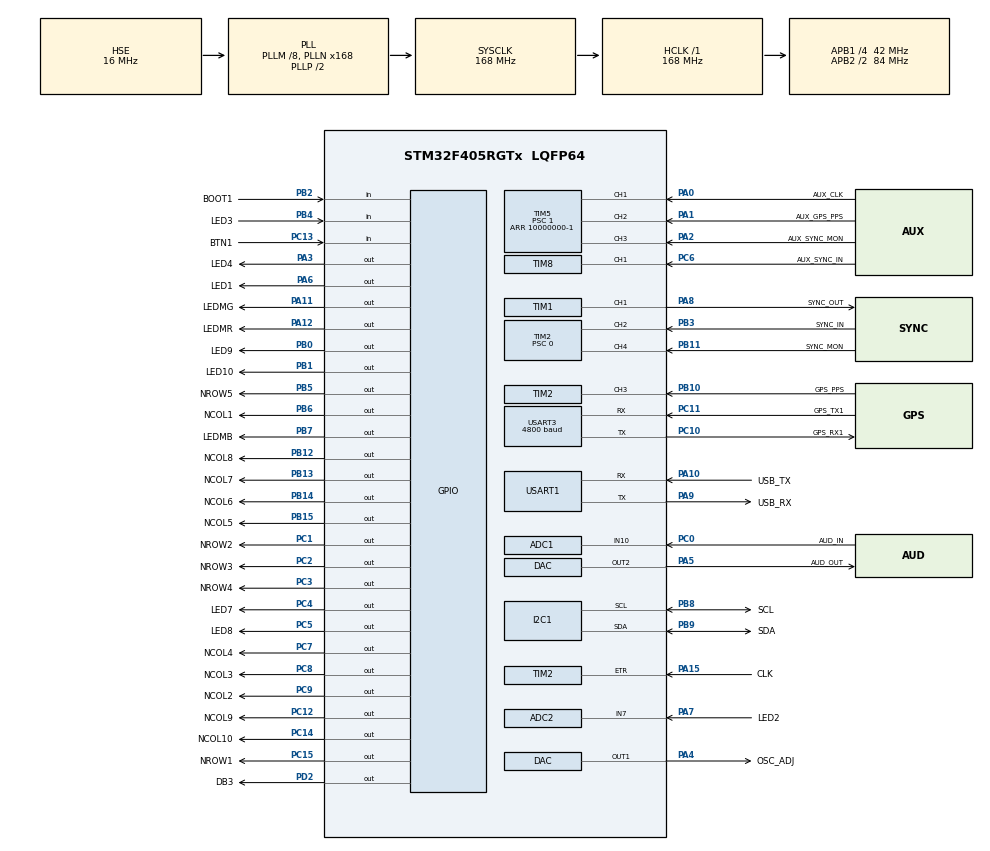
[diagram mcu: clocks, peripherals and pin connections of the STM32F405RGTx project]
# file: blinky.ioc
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ADC1.Channel-2\#ChannelRegularConversion=ADC_CHANNEL_10
ADC1.DMAContinuousRequests=DISABLE
ADC1.ExternalTrigConv=ADC_SOFTWARE_START
ADC1.NbrOfConversion=1
ADC1.NbrOfConversionFlag=1
ADC1.Rank-2\#ChannelRegularConversion=1
ADC1.SamplingTime-2\#ChannelRegularConversion=ADC_SAMPLETIME_3CYCLES
ADC1.master=1
ADC2.Channel-0\#ChannelRegularConversion=ADC_CHANNEL_7
ADC2.NbrOfConversionFlag=1
ADC2.Rank-0\#ChannelRegularConversion=1
ADC2.SamplingTime-0\#ChannelRegularConversion=ADC_SAMPLETIME_3CYCLES
DAC.DAC_Trigger2=DAC_TRIGGER_T6_TRGO
DAC.WaveGeneration2=DISABLE
Dma.ADC1.1.Direction=DMA_PERIPH_TO_MEMORY
Dma.ADC1.1.FIFOMode=DMA_FIFOMODE_DISABLE
Dma.ADC1.1.Instance=DMA2_Stream0
Dma.ADC1.1.MemDataAlignment=DMA_MDATAALIGN_WORD
Dma.ADC1.1.MemInc=DMA_MINC_ENABLE
Dma.ADC1.1.Mode=DMA_CIRCULAR
Dma.ADC1.1.PeriphDataAlignment=DMA_PDATAALIGN_WORD
Dma.ADC1.1.PeriphInc=DMA_PINC_DISABLE
Dma.ADC1.1.Priority=DMA_PRIORITY_LOW
Dma.DAC2.0.Direction=DMA_MEMORY_TO_PERIPH
Dma.DAC2.0.FIFOMode=DMA_FIFOMODE_DISABLE
Dma.DAC2.0.Instance=DMA1_Stream6
Dma.DAC2.0.MemDataAlignment=DMA_MDATAALIGN_WORD
Dma.DAC2.0.MemInc=DMA_MINC_ENABLE
Dma.DAC2.0.Mode=DMA_CIRCULAR
Dma.DAC2.0.PeriphDataAlignment=DMA_PDATAALIGN_WORD
Dma.DAC2.0.PeriphInc=DMA_PINC_DISABLE
Dma.DAC2.0.Priority=DMA_PRIORITY_LOW
Dma.Request0=DAC2
Dma.Request1=ADC1
Mcu.Family=STM32F4
Mcu.Name=STM32F405RGTx
Mcu.Package=LQFP64
NVIC.ADC_IRQn=true\:0\:0\:false\:false\:true\:true\:true\:true
NVIC.DMA1_Stream6_IRQn=true\:0\:0\:false\:false\:true\:false\:true\:true
NVIC.DMA2_Stream0_IRQn=true\:0\:0\:false\:false\:true\:false\:true\:true
NVIC.PriorityGroup=NVIC_PRIORITYGROUP_4
NVIC.TIM1_CC_IRQn=true\:0\:0\:false\:false\:true\:true\:true\:true
NVIC.TIM2_IRQn=true\:2\:0\:true\:false\:true\:true\:true\:true
NVIC.TIM3_IRQn=true\:0\:0\:false\:false\:true\:true\:true\:true
NVIC.TIM4_IRQn=true\:0\:0\:false\:false\:true\:true\:true\:true
NVIC.TIM5_IRQn=true\:0\:0\:false\:false\:true\:true\:true\:true
NVIC.TIM6_DAC_IRQn=true\:0\:0\:false\:false\:true\:true\:true\:true
NVIC.TIM8_CC_IRQn=true\:3\:0\:true\:false\:true\:true\:true\:true
NVIC.TIM8_TRG_COM_TIM14_IRQn=true\:15\:0\:false\:false\:true\:false\:true\:true
NVIC.USART3_IRQn=true\:0\:0\:false\:false\:true\:true\:true\:true
PA0-WKUP.GPIO_Label=AUX_CLK
PA0-WKUP.Signal=S_TIM5_CH1
PA1.GPIO_Label=AUX_GPS_PPS
PA1.Signal=S_TIM5_CH2
PA10.GPIO_Label=USB_TX
PA10.GPIO_Speed=GPIO_SPEED_FREQ_HIGH
PA10.Mode=Asynchronous
PA10.Signal=USART1_RX
PA11.GPIO_Label=LEDMG
PA11.PinState=GPIO_PIN_SET
PA11.Signal=GPIO_Output
PA12.GPIO_Label=LEDMR
PA12.PinState=GPIO_PIN_RESET
PA12.Signal=GPIO_Output
PA13.GPIO_Label=SWDIO
PA13.Mode=Serial_Wire
PA13.Signal=SYS_JTMS-SWDIO
PA14.GPIO_Label=SWDCLK
PA14.Mode=Serial_Wire
PA14.Signal=SYS_JTCK-SWCLK
PA15.GPIO_Label=CLK
PA15.Signal=S_TIM2_CH1_ETR
PA2.GPIO_Label=AUX_SYNC_MON
PA2.Signal=S_TIM5_CH3
PA3.GPIO_Label=LED4
PA3.GPIO_PuPd=GPIO_NOPULL
PA3.PinState=GPIO_PIN_RESET
PA3.Signal=GPIO_Output
PA4.GPIO_Label=OSC_ADJ
PA4.Signal=COMP_DAC1_group
PA5.GPIO_Label=AUD_OUT
PA5.Signal=COMP_DAC2_group
PA6.GPIO_Label=LED1
PA6.Signal=GPIO_Output
PA7.GPIO_Label=LED2
PA7.Signal=ADCx_IN7
PA8.GPIO_Label=SYNC_OUT
PA8.Signal=S_TIM1_CH1
PA9.GPIO_Label=USB_RX
PA9.GPIO_Speed=GPIO_SPEED_FREQ_HIGH
PA9.Mode=Asynchronous
PA9.Signal=USART1_TX
PB0.GPIO_Label=LED9
PB0.PinState=GPIO_PIN_SET
PB0.Signal=GPIO_Output
PB1.GPIO_Label=LED10
PB1.PinState=GPIO_PIN_SET
PB1.Signal=GPIO_Output
PB10.GPIO_Label=GPS_PPS
PB10.Signal=S_TIM2_CH3
PB11.GPIO_Label=SYNC_MON
PB11.Signal=S_TIM2_CH4
PB12.GPIO_Label=NCOL8
PB12.Signal=GPIO_Output
PB13.GPIO_Label=NCOL7
PB13.Signal=GPIO_Output
PB14.GPIO_Label=NCOL6
PB14.Signal=GPIO_Output
PB15.GPIO_Label=NCOL5
PB15.Signal=GPIO_Output
PB2.GPIO_Label=BOOT1
PB2.GPIO_PuPd=GPIO_PULLDOWN
PB2.Signal=GPIO_Input
PB3.GPIO_Label=SYNC_IN
PB3.Signal=S_TIM2_CH2
PB4.GPIO_Label=LED3
PB4.GPIO_PuPd=GPIO_PULLDOWN
PB4.Signal=GPIO_Input
PB5.GPIO_Label=NROW5
PB5.GPIO_Speed=GPIO_SPEED_FREQ_LOW
PB5.Signal=GPIO_Output
PB6.GPIO_Label=NCOL1
PB6.Signal=GPIO_Output
PB7.GPIO_Label=LEDMB
PB7.Signal=GPIO_Output
PB8.GPIO_Label=SCL
PB8.Mode=I2C
PB8.Signal=I2C1_SCL
PB9.GPIO_Label=SDA
PB9.Mode=I2C
PB9.Signal=I2C1_SDA
PC0.GPIO_Label=AUD_IN
PC0.Signal=ADCx_IN10
PC1.GPIO_Label=NROW2
PC1.Signal=GPIO_Output
PC10.GPIO_Label=GPS_RX1
PC10.GPIO_Speed=GPIO_SPEED_FREQ_HIGH
PC10.Mode=Asynchronous
PC10.Signal=USART3_TX
PC11.GPIO_Label=GPS_TX1
PC11.GPIO_Speed=GPIO_SPEED_FREQ_HIGH
PC11.Mode=Asynchronous
PC11.Signal=USART3_RX
PC12.GPIO_Label=NCOL9
PC12.GPIO_Speed=GPIO_SPEED_FREQ_LOW
PC12.Signal=GPIO_Output
PC13-ANTI_TAMP.GPIO_Label=BTN1
PC13-ANTI_TAMP.GPIO_PuPd=GPIO_PULLDOWN
PC13-ANTI_TAMP.Signal=GPIO_Input
PC14-OSC32_IN.GPIO_Label=NCOL10
PC14-OSC32_IN.GPIO_PuPd=GPIO_NOPULL
PC14-OSC32_IN.PinState=GPIO_PIN_RESET
PC14-OSC32_IN.Signal=GPIO_Output
PC15-OSC32_OUT.GPIO_Label=NROW1
PC15-OSC32_OUT.GPIO_PuPd=GPIO_NOPULL
PC15-OSC32_OUT.PinState=GPIO_PIN_RESET
PC15-OSC32_OUT.Signal=GPIO_Output
PC2.GPIO_Label=NROW3
PC2.Signal=GPIO_Output
PC3.GPIO_Label=NROW4
PC3.Signal=GPIO_Output
PC4.GPIO_Label=LED7
PC4.Signal=GPIO_Output
PC5.GPIO_Label=LED8
PC5.PinState=GPIO_PIN_SET
PC5.Signal=GPIO_Output
PC6.GPIO_Label=AUX_SYNC_IN
PC6.Signal=S_TIM8_CH1
PC7.GPIO_Label=NCOL4
PC7.Signal=GPIO_Output
PC8.GPIO_Label=NCOL3
PC8.Signal=GPIO_Output
PC9.GPIO_Label=NCOL2
PC9.Signal=GPIO_Output
PD2.GPIO_Label=DB3
PD2.GPIO_Speed=GPIO_SPEED_FREQ_HIGH
PD2.Signal=GPIO_Output
PH0-OSC_IN.GPIO_Label=HSE_IN
PH0-OSC_IN.Mode=HSE-External-Oscillator
PH0-OSC_IN.Signal=RCC_OSC_IN
PH1-OSC_OUT.GPIO_Label=HSE_OUT
PH1-OSC_OUT.Mode=HSE-External-Oscillator
PH1-OSC_OUT.Signal=RCC_OSC_OUT
ProjectManager.HeapSize=0x200
ProjectManager.StackSize=0x400
ProjectManager.TargetToolchain=STM32CubeIDE
RCC.48MHZClocksFreq_Value=84000000
RCC.AHBFreq_Value=168000000
RCC.APB1CLKDivider=RCC_HCLK_DIV4
RCC.APB1Freq_Value=42000000
RCC.APB1TimFreq_Value=84000000
RCC.APB2CLKDivider=RCC_HCLK_DIV2
RCC.APB2Freq_Value=84000000
RCC.APB2TimFreq_Value=168000000
RCC.CortexFreq_Value=168000000
RCC.HCLKFreq_Value=168000000
RCC.HSE_VALUE=16000000
RCC.HSI_VALUE=16000000
RCC.LSE_VALUE=32768
RCC.PLLM=8
RCC.PLLN=168
RCC.PLLSourceVirtual=RCC_PLLSOURCE_HSE
RCC.SYSCLKFreq_VALUE=168000000
RCC.SYSCLKSource=RCC_SYSCLKSOURCE_PLLCLK
RCC.VCOOutputFreq_Value=336000000
SH.ADCx_IN10.0=ADC1_IN10,IN10
SH.ADCx_IN7.0=ADC2_IN7,IN7
SH.COMP_DAC1_group.0=DAC_OUT1,DAC_OUT1
SH.COMP_DAC2_group.0=DAC_OUT2,DAC_OUT2
SH.S_TIM1_CH1.0=TIM1_CH1,Output Compare1 CH1
SH.S_TIM2_CH1_ETR.0=TIM2_ETR,ClockSourceETR_Mode2
SH.S_TIM2_CH2.0=TIM2_CH2,Input_Capture2_from_TI2
SH.S_TIM2_CH3.0=TIM2_CH3,Input_Capture3_from_TI3
SH.S_TIM2_CH4.0=TIM2_CH4,Input_Capture4_from_TI4
SH.S_TIM5_CH1.0=TIM5_CH1,TriggerSource_TI1ED
SH.S_TIM5_CH2.0=TIM5_CH2,Input_Capture2_from_TI2
SH.S_TIM5_CH3.0=TIM5_CH3,Input_Capture3_from_TI3
SH.S_TIM8_CH1.0=TIM8_CH1,Input_Capture1_from_TI1
TIM1.Channel-Output\ Compare1\ CH1=TIM_CHANNEL_1
TIM1.OCMode_1=TIM_OCMODE_TOGGLE
TIM1.Period=55000-1
TIM1.Prescaler=3360-1
TIM1.Pulse-Output\ Compare1\ CH1=1000
TIM2.Channel-Input_Capture2_from_TI2=TIM_CHANNEL_2
TIM2.Channel-Input_Capture3_from_TI3=TIM_CHANNEL_3
TIM2.Channel-Input_Capture4_from_TI4=TIM_CHANNEL_4
TIM2.ICPolarity_CH2=TIM_INPUTCHANNELPOLARITY_FALLING
TIM2.ICPolarity_CH3=TIM_INPUTCHANNELPOLARITY_FALLING
TIM2.ICPolarity_CH4=TIM_INPUTCHANNELPOLARITY_FALLING
TIM2.Period=2048000-1
TIM2.Prescaler=0
TIM2.TIM_MasterOutputTrigger=TIM_TRGO_UPDATE
TIM2.TIM_MasterSlaveMode=TIM_MASTERSLAVEMODE_DISABLE
TIM3.Period=114-1
TIM3.Prescaler=84-1
TIM3.TIM_MasterOutputTrigger=TIM_TRGO_UPDATE
TIM4.Period=1000-1
TIM4.Prescaler=84-1
TIM5.Channel-Input_Capture2_from_TI2=TIM_CHANNEL_2
TIM5.Channel-Input_Capture3_from_TI3=TIM_CHANNEL_3
TIM5.Period=10000000-1
TIM5.Prescaler=1
TIM6.Period=114-1
TIM6.Prescaler=84-1
TIM6.TIM_MasterOutputTrigger=TIM_TRGO_UPDATE
TIM8.Channel-Input_Capture1_from_TI1=TIM_CHANNEL_1
TIM8.ICPolarity_CH1=TIM_INPUTCHANNELPOLARITY_BOTHEDGE
TIM8.Period=55000-1
TIM8.Prescaler=3360-1
USART1.VirtualMode=VM_ASYNC
USART3.BaudRate=4800
USART3.VirtualMode=VM_ASYNC
VP_TIM1_VS_ClockSourceINT.Mode=Internal
VP_TIM1_VS_ClockSourceITR.Mode=TriggerSource_ITR1
VP_TIM1_VS_ControllerModeReset.Mode=Reset Mode
VP_TIM3_VS_ClockSourceINT.Mode=Internal
VP_TIM4_VS_ClockSourceINT.Mode=Internal
VP_TIM4_VS_ClockSourceITR.Mode=TriggerSource_ITR1
VP_TIM4_VS_ControllerModeReset.Mode=Reset Mode
VP_TIM5_VS_ControllerModeClock.Mode=Clock Mode
VP_TIM6_VS_ClockSourceINT.Mode=Enable_Timer
VP_TIM8_VS_ClockSourceINT.Mode=Internal
board=custom

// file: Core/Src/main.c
/* USER CODE BEGIN Header */
/**
 ******************************************************************************
 * @file           : main.c
 * @brief          : Main program body
 ******************************************************************************
 * @attention
 *
 * Copyright (c) 2023 STMicroelectronics.
 * All rights reserved.
 *
 * This software is licensed under terms that can be found in the LICENSE file
 * in the root directory of this software component.
 * If no LICENSE file comes with this software, it is provided AS-IS.
 *
 ******************************************************************************
 ******************************************************************************
 */
/* USER CODE END Header */
#include "main.h"

/* USER CODE BEGIN Includes */
#include <stdio.h>
#include <stm32f4xx_ll_tim.h>
#include <string.h>

#include "blink.h"
/* USER CODE END Includes */

ADC_HandleTypeDef hadc1;
ADC_HandleTypeDef hadc2;
DMA_HandleTypeDef hdma_adc1;

DAC_HandleTypeDef hdac;
DMA_HandleTypeDef hdma_dac2;

I2C_HandleTypeDef hi2c1;

TIM_HandleTypeDef htim1;
TIM_HandleTypeDef htim2;
TIM_HandleTypeDef htim3;
TIM_HandleTypeDef htim4;
TIM_HandleTypeDef htim5;
TIM_HandleTypeDef htim6;
TIM_HandleTypeDef htim8;

UART_HandleTypeDef huart1;
UART_HandleTypeDef huart3;

void SystemClock_Config(void);
static void MX_GPIO_Init(void);
static void MX_DMA_Init(void);
static void MX_TIM8_Init(void);
static void MX_DAC_Init(void);
static void MX_I2C1_Init(void);
static void MX_USART1_UART_Init(void);
static void MX_ADC1_Init(void);
static void MX_TIM5_Init(void);
static void MX_TIM1_Init(void);
static void MX_TIM4_Init(void);
static void MX_TIM2_Init(void);
static void MX_TIM6_Init(void);
static void MX_TIM3_Init(void);
static void MX_ADC2_Init(void);
static void MX_USART3_UART_Init(void);

int main(void)
{

  /* MCU Configuration--------------------------------------------------------*/

  /* Reset of all peripherals, Initializes the Flash interface and the Systick. */
  HAL_Init();

  /* USER CODE BEGIN Init */
  blinkInit();
  /* USER CODE END Init */

  /* Configure the system clock */
  SystemClock_Config();

  /* Initialize all configured peripherals */
  MX_GPIO_Init();
  MX_DMA_Init();
  MX_TIM8_Init();
  MX_DAC_Init();
  MX_I2C1_Init();
  MX_USART1_UART_Init();
  MX_ADC1_Init();
  MX_TIM5_Init();
  MX_TIM1_Init();
  MX_TIM4_Init();
  MX_TIM2_Init();
  MX_TIM6_Init();
  MX_TIM3_Init();
  MX_ADC2_Init();
  MX_USART3_UART_Init();
  /* USER CODE BEGIN 2 */
  blinkSetup();

  /* USER CODE END 2 */

  /* Infinite loop */
  /* USER CODE BEGIN WHILE */
  while (1) {
    blinkRun();
    /* USER CODE END WHILE */

  }
}

void SystemClock_Config(void)
{
  RCC_OscInitTypeDef RCC_OscInitStruct = {0};
  RCC_ClkInitTypeDef RCC_ClkInitStruct = {0};

  /** Configure the main internal regulator output voltage
  */
  __HAL_RCC_PWR_CLK_ENABLE();
  __HAL_PWR_VOLTAGESCALING_CONFIG(PWR_REGULATOR_VOLTAGE_SCALE1);

  /** Initializes the RCC Oscillators according to the specified parameters
  * in the RCC_OscInitTypeDef structure.
  */
  RCC_OscInitStruct.OscillatorType = RCC_OSCILLATORTYPE_HSE;
  RCC_OscInitStruct.HSEState = RCC_HSE_ON;
  RCC_OscInitStruct.PLL.PLLState = RCC_PLL_ON;
  RCC_OscInitStruct.PLL.PLLSource = RCC_PLLSOURCE_HSE;
  RCC_OscInitStruct.PLL.PLLM = 8;
  RCC_OscInitStruct.PLL.PLLN = 168;
  RCC_OscInitStruct.PLL.PLLP = RCC_PLLP_DIV2;
  RCC_OscInitStruct.PLL.PLLQ = 4;
  if (HAL_RCC_OscConfig(&RCC_OscInitStruct) != HAL_OK)
  {
    Error_Handler();
  }

  /** Initializes the CPU, AHB and APB buses clocks
  */
  RCC_ClkInitStruct.ClockType = RCC_CLOCKTYPE_HCLK|RCC_CLOCKTYPE_SYSCLK
                              |RCC_CLOCKTYPE_PCLK1|RCC_CLOCKTYPE_PCLK2;
  RCC_ClkInitStruct.SYSCLKSource = RCC_SYSCLKSOURCE_PLLCLK;
  RCC_ClkInitStruct.AHBCLKDivider = RCC_SYSCLK_DIV1;
  RCC_ClkInitStruct.APB1CLKDivider = RCC_HCLK_DIV4;
  RCC_ClkInitStruct.APB2CLKDivider = RCC_HCLK_DIV2;

  if (HAL_RCC_ClockConfig(&RCC_ClkInitStruct, FLASH_LATENCY_5) != HAL_OK)
  {
    Error_Handler();
  }
}

static void MX_ADC1_Init(void)
{

  ADC_ChannelConfTypeDef sConfig = {0};

  /** Configure the global features of the ADC (Clock, Resolution, Data Alignment and number of conversion)
  */
  hadc1.Instance = ADC1;
  hadc1.Init.ClockPrescaler = ADC_CLOCK_SYNC_PCLK_DIV4;
  hadc1.Init.Resolution = ADC_RESOLUTION_12B;
  hadc1.Init.ScanConvMode = DISABLE;
  hadc1.Init.ContinuousConvMode = DISABLE;
  hadc1.Init.DiscontinuousConvMode = DISABLE;
  hadc1.Init.ExternalTrigConvEdge = ADC_EXTERNALTRIGCONVEDGE_NONE;
  hadc1.Init.ExternalTrigConv = ADC_SOFTWARE_START;
  hadc1.Init.DataAlign = ADC_DATAALIGN_RIGHT;
  hadc1.Init.NbrOfConversion = 1;
  hadc1.Init.DMAContinuousRequests = DISABLE;
  hadc1.Init.EOCSelection = ADC_EOC_SINGLE_CONV;
  if (HAL_ADC_Init(&hadc1) != HAL_OK)
  {
    Error_Handler();
  }

  /** Configure for the selected ADC regular channel its corresponding rank in the sequencer and its sample time.
  */
  sConfig.Channel = ADC_CHANNEL_10;
  sConfig.Rank = 1;
  sConfig.SamplingTime = ADC_SAMPLETIME_3CYCLES;
  if (HAL_ADC_ConfigChannel(&hadc1, &sConfig) != HAL_OK)
  {
    Error_Handler();
  }

}

static void MX_ADC2_Init(void)
{

  ADC_ChannelConfTypeDef sConfig = {0};

  /** Configure the global features of the ADC (Clock, Resolution, Data Alignment and number of conversion)
  */
  hadc2.Instance = ADC2;
  hadc2.Init.ClockPrescaler = ADC_CLOCK_SYNC_PCLK_DIV4;
  hadc2.Init.Resolution = ADC_RESOLUTION_12B;
  hadc2.Init.ScanConvMode = DISABLE;
  hadc2.Init.ContinuousConvMode = DISABLE;
  hadc2.Init.DiscontinuousConvMode = DISABLE;
  hadc2.Init.ExternalTrigConvEdge = ADC_EXTERNALTRIGCONVEDGE_NONE;
  hadc2.Init.ExternalTrigConv = ADC_SOFTWARE_START;
  hadc2.Init.DataAlign = ADC_DATAALIGN_RIGHT;
  hadc2.Init.NbrOfConversion = 1;
  hadc2.Init.DMAContinuousRequests = DISABLE;
  hadc2.Init.EOCSelection = ADC_EOC_SINGLE_CONV;
  if (HAL_ADC_Init(&hadc2) != HAL_OK)
  {
    Error_Handler();
  }

  /** Configure for the selected ADC regular channel its corresponding rank in the sequencer and its sample time.
  */
  sConfig.Channel = ADC_CHANNEL_7;
  sConfig.Rank = 1;
  sConfig.SamplingTime = ADC_SAMPLETIME_3CYCLES;
  if (HAL_ADC_ConfigChannel(&hadc2, &sConfig) != HAL_OK)
  {
    Error_Handler();
  }

}

static void MX_DAC_Init(void)
{

  DAC_ChannelConfTypeDef sConfig = {0};

  /** DAC Initialization
  */
  hdac.Instance = DAC;
  if (HAL_DAC_Init(&hdac) != HAL_OK)
  {
    Error_Handler();
  }

  /** DAC channel OUT1 config
  */
  sConfig.DAC_Trigger = DAC_TRIGGER_NONE;
  sConfig.DAC_OutputBuffer = DAC_OUTPUTBUFFER_ENABLE;
  if (HAL_DAC_ConfigChannel(&hdac, &sConfig, DAC_CHANNEL_1) != HAL_OK)
  {
    Error_Handler();
  }

  /** DAC channel OUT2 config
  */
  sConfig.DAC_Trigger = DAC_TRIGGER_T6_TRGO;
  if (HAL_DAC_ConfigChannel(&hdac, &sConfig, DAC_CHANNEL_2) != HAL_OK)
  {
    Error_Handler();
  }

}

static void MX_I2C1_Init(void)
{

  hi2c1.Instance = I2C1;
  hi2c1.Init.ClockSpeed = 100000;
  hi2c1.Init.DutyCycle = I2C_DUTYCYCLE_2;
  hi2c1.Init.OwnAddress1 = 0;
  hi2c1.Init.AddressingMode = I2C_ADDRESSINGMODE_7BIT;
  hi2c1.Init.DualAddressMode = I2C_DUALADDRESS_DISABLE;
  hi2c1.Init.OwnAddress2 = 0;
  hi2c1.Init.GeneralCallMode = I2C_GENERALCALL_DISABLE;
  hi2c1.Init.NoStretchMode = I2C_NOSTRETCH_DISABLE;
  if (HAL_I2C_Init(&hi2c1) != HAL_OK)
  {
    Error_Handler();
  }

}

static void MX_TIM1_Init(void)
{

  TIM_ClockConfigTypeDef sClockSourceConfig = {0};
  TIM_SlaveConfigTypeDef sSlaveConfig = {0};
  TIM_MasterConfigTypeDef sMasterConfig = {0};
  TIM_OC_InitTypeDef sConfigOC = {0};
  TIM_BreakDeadTimeConfigTypeDef sBreakDeadTimeConfig = {0};

  htim1.Instance = TIM1;
  htim1.Init.Prescaler = 3360-1;
  htim1.Init.CounterMode = TIM_COUNTERMODE_UP;
  htim1.Init.Period = 55000-1;
  htim1.Init.ClockDivision = TIM_CLOCKDIVISION_DIV1;
  htim1.Init.RepetitionCounter = 0;
  htim1.Init.AutoReloadPreload = TIM_AUTORELOAD_PRELOAD_DISABLE;
  if (HAL_TIM_Base_Init(&htim1) != HAL_OK)
  {
    Error_Handler();
  }
  sClockSourceConfig.ClockSource = TIM_CLOCKSOURCE_INTERNAL;
  if (HAL_TIM_ConfigClockSource(&htim1, &sClockSourceConfig) != HAL_OK)
  {
    Error_Handler();
  }
  if (HAL_TIM_OC_Init(&htim1) != HAL_OK)
  {
    Error_Handler();
  }
  sSlaveConfig.SlaveMode = TIM_SLAVEMODE_RESET;
  sSlaveConfig.InputTrigger = TIM_TS_ITR1;
  if (HAL_TIM_SlaveConfigSynchro(&htim1, &sSlaveConfig) != HAL_OK)
  {
    Error_Handler();
  }
  sMasterConfig.MasterOutputTrigger = TIM_TRGO_RESET;
  sMasterConfig.MasterSlaveMode = TIM_MASTERSLAVEMODE_DISABLE;
  if (HAL_TIMEx_MasterConfigSynchronization(&htim1, &sMasterConfig) != HAL_OK)
  {
    Error_Handler();
  }
  sConfigOC.OCMode = TIM_OCMODE_TOGGLE;
  sConfigOC.Pulse = 1000;
  sConfigOC.OCPolarity = TIM_OCPOLARITY_HIGH;
  sConfigOC.OCNPolarity = TIM_OCNPOLARITY_HIGH;
  sConfigOC.OCFastMode = TIM_OCFAST_DISABLE;
  sConfigOC.OCIdleState = TIM_OCIDLESTATE_RESET;
  sConfigOC.OCNIdleState = TIM_OCNIDLESTATE_RESET;
  if (HAL_TIM_OC_ConfigChannel(&htim1, &sConfigOC, TIM_CHANNEL_1) != HAL_OK)
  {
    Error_Handler();
  }
  sBreakDeadTimeConfig.OffStateRunMode = TIM_OSSR_DISABLE;
  sBreakDeadTimeConfig.OffStateIDLEMode = TIM_OSSI_DISABLE;
  sBreakDeadTimeConfig.LockLevel = TIM_LOCKLEVEL_OFF;
  sBreakDeadTimeConfig.DeadTime = 0;
  sBreakDeadTimeConfig.BreakState = TIM_BREAK_DISABLE;
  sBreakDeadTimeConfig.BreakPolarity = TIM_BREAKPOLARITY_HIGH;
  sBreakDeadTimeConfig.AutomaticOutput = TIM_AUTOMATICOUTPUT_DISABLE;
  if (HAL_TIMEx_ConfigBreakDeadTime(&htim1, &sBreakDeadTimeConfig) != HAL_OK)
  {
    Error_Handler();
  }
  HAL_TIM_MspPostInit(&htim1);

}

static void MX_TIM2_Init(void)
{

  TIM_ClockConfigTypeDef sClockSourceConfig = {0};
  TIM_MasterConfigTypeDef sMasterConfig = {0};
  TIM_IC_InitTypeDef sConfigIC = {0};

  htim2.Instance = TIM2;
  htim2.Init.Prescaler = 0;
  htim2.Init.CounterMode = TIM_COUNTERMODE_UP;
  htim2.Init.Period = 2048000-1;
  htim2.Init.ClockDivision = TIM_CLOCKDIVISION_DIV1;
  htim2.Init.AutoReloadPreload = TIM_AUTORELOAD_PRELOAD_DISABLE;
  if (HAL_TIM_Base_Init(&htim2) != HAL_OK)
  {
    Error_Handler();
  }
  sClockSourceConfig.ClockSource = TIM_CLOCKSOURCE_ETRMODE2;
  sClockSourceConfig.ClockPolarity = TIM_CLOCKPOLARITY_NONINVERTED;
  sClockSourceConfig.ClockPrescaler = TIM_CLOCKPRESCALER_DIV1;
  sClockSourceConfig.ClockFilter = 0;
  if (HAL_TIM_ConfigClockSource(&htim2, &sClockSourceConfig) != HAL_OK)
  {
    Error_Handler();
  }
  if (HAL_TIM_IC_Init(&htim2) != HAL_OK)
  {
    Error_Handler();
  }
  sMasterConfig.MasterOutputTrigger = TIM_TRGO_UPDATE;
  sMasterConfig.MasterSlaveMode = TIM_MASTERSLAVEMODE_DISABLE;
  if (HAL_TIMEx_MasterConfigSynchronization(&htim2, &sMasterConfig) != HAL_OK)
  {
    Error_Handler();
  }
  sConfigIC.ICPolarity = TIM_INPUTCHANNELPOLARITY_FALLING;
  sConfigIC.ICSelection = TIM_ICSELECTION_DIRECTTI;
  sConfigIC.ICPrescaler = TIM_ICPSC_DIV1;
  sConfigIC.ICFilter = 0;
  if (HAL_TIM_IC_ConfigChannel(&htim2, &sConfigIC, TIM_CHANNEL_2) != HAL_OK)
  {
    Error_Handler();
  }
  if (HAL_TIM_IC_ConfigChannel(&htim2, &sConfigIC, TIM_CHANNEL_3) != HAL_OK)
  {
    Error_Handler();
  }
  if (HAL_TIM_IC_ConfigChannel(&htim2, &sConfigIC, TIM_CHANNEL_4) != HAL_OK)
  {
    Error_Handler();
  }

}

static void MX_TIM3_Init(void)
{

  TIM_ClockConfigTypeDef sClockSourceConfig = {0};
  TIM_MasterConfigTypeDef sMasterConfig = {0};

  htim3.Instance = TIM3;
  htim3.Init.Prescaler = 84-1;
  htim3.Init.CounterMode = TIM_COUNTERMODE_UP;
  htim3.Init.Period = 114-1;
  htim3.Init.ClockDivision = TIM_CLOCKDIVISION_DIV1;
  htim3.Init.AutoReloadPreload = TIM_AUTORELOAD_PRELOAD_DISABLE;
  if (HAL_TIM_Base_Init(&htim3) != HAL_OK)
  {
    Error_Handler();
  }
  sClockSourceConfig.ClockSource = TIM_CLOCKSOURCE_INTERNAL;
  if (HAL_TIM_ConfigClockSource(&htim3, &sClockSourceConfig) != HAL_OK)
  {
    Error_Handler();
  }
  sMasterConfig.MasterOutputTrigger = TIM_TRGO_UPDATE;
  sMasterConfig.MasterSlaveMode = TIM_MASTERSLAVEMODE_DISABLE;
  if (HAL_TIMEx_MasterConfigSynchronization(&htim3, &sMasterConfig) != HAL_OK)
  {
    Error_Handler();
  }

}

static void MX_TIM4_Init(void)
{

  TIM_ClockConfigTypeDef sClockSourceConfig = {0};
  TIM_SlaveConfigTypeDef sSlaveConfig = {0};
  TIM_MasterConfigTypeDef sMasterConfig = {0};

  htim4.Instance = TIM4;
  htim4.Init.Prescaler = 84-1;
  htim4.Init.CounterMode = TIM_COUNTERMODE_UP;
  htim4.Init.Period = 1000-1;
  htim4.Init.ClockDivision = TIM_CLOCKDIVISION_DIV1;
  htim4.Init.AutoReloadPreload = TIM_AUTORELOAD_PRELOAD_DISABLE;
  if (HAL_TIM_Base_Init(&htim4) != HAL_OK)
  {
    Error_Handler();
  }
  sClockSourceConfig.ClockSource = TIM_CLOCKSOURCE_INTERNAL;
  if (HAL_TIM_ConfigClockSource(&htim4, &sClockSourceConfig) != HAL_OK)
  {
    Error_Handler();
  }
  sSlaveConfig.SlaveMode = TIM_SLAVEMODE_RESET;
  sSlaveConfig.InputTrigger = TIM_TS_ITR1;
  if (HAL_TIM_SlaveConfigSynchro(&htim4, &sSlaveConfig) != HAL_OK)
  {
    Error_Handler();
  }
  sMasterConfig.MasterOutputTrigger = TIM_TRGO_RESET;
  sMasterConfig.MasterSlaveMode = TIM_MASTERSLAVEMODE_DISABLE;
  if (HAL_TIMEx_MasterConfigSynchronization(&htim4, &sMasterConfig) != HAL_OK)
  {
    Error_Handler();
  }

}

static void MX_TIM5_Init(void)
{

  TIM_SlaveConfigTypeDef sSlaveConfig = {0};
  TIM_MasterConfigTypeDef sMasterConfig = {0};
  TIM_IC_InitTypeDef sConfigIC = {0};

  htim5.Instance = TIM5;
  htim5.Init.Prescaler = 1;
  htim5.Init.CounterMode = TIM_COUNTERMODE_UP;
  htim5.Init.Period = 10000000-1;
  htim5.Init.ClockDivision = TIM_CLOCKDIVISION_DIV1;
  htim5.Init.AutoReloadPreload = TIM_AUTORELOAD_PRELOAD_DISABLE;
  if (HAL_TIM_Base_Init(&htim5) != HAL_OK)
  {
    Error_Handler();
  }
  if (HAL_TIM_IC_Init(&htim5) != HAL_OK)
  {
    Error_Handler();
  }
  sSlaveConfig.SlaveMode = TIM_SLAVEMODE_EXTERNAL1;
  sSlaveConfig.InputTrigger = TIM_TS_TI1F_ED;
  sSlaveConfig.TriggerFilter = 0;
  if (HAL_TIM_SlaveConfigSynchro(&htim5, &sSlaveConfig) != HAL_OK)
  {
    Error_Handler();
  }
  sMasterConfig.MasterOutputTrigger = TIM_TRGO_RESET;
  sMasterConfig.MasterSlaveMode = TIM_MASTERSLAVEMODE_DISABLE;
  if (HAL_TIMEx_MasterConfigSynchronization(&htim5, &sMasterConfig) != HAL_OK)
  {
    Error_Handler();
  }
  sConfigIC.ICPolarity = TIM_INPUTCHANNELPOLARITY_RISING;
  sConfigIC.ICSelection = TIM_ICSELECTION_DIRECTTI;
  sConfigIC.ICPrescaler = TIM_ICPSC_DIV1;
  sConfigIC.ICFilter = 0;
  if (HAL_TIM_IC_ConfigChannel(&htim5, &sConfigIC, TIM_CHANNEL_2) != HAL_OK)
  {
    Error_Handler();
  }
  if (HAL_TIM_IC_ConfigChannel(&htim5, &sConfigIC, TIM_CHANNEL_3) != HAL_OK)
  {
    Error_Handler();
  }

}

static void MX_TIM6_Init(void)
{

  TIM_MasterConfigTypeDef sMasterConfig = {0};

  htim6.Instance = TIM6;
  htim6.Init.Prescaler = 84-1;
  htim6.Init.CounterMode = TIM_COUNTERMODE_UP;
  htim6.Init.Period = 114-1;
  htim6.Init.AutoReloadPreload = TIM_AUTORELOAD_PRELOAD_DISABLE;
  if (HAL_TIM_Base_Init(&htim6) != HAL_OK)
  {
    Error_Handler();
  }
  sMasterConfig.MasterOutputTrigger = TIM_TRGO_UPDATE;
  sMasterConfig.MasterSlaveMode = TIM_MASTERSLAVEMODE_DISABLE;
  if (HAL_TIMEx_MasterConfigSynchronization(&htim6, &sMasterConfig) != HAL_OK)
  {
    Error_Handler();
  }

}

static void MX_TIM8_Init(void)
{

  TIM_ClockConfigTypeDef sClockSourceConfig = {0};
  TIM_MasterConfigTypeDef sMasterConfig = {0};
  TIM_IC_InitTypeDef sConfigIC = {0};

  htim8.Instance = TIM8;
  htim8.Init.Prescaler = 3360-1;
  htim8.Init.CounterMode = TIM_COUNTERMODE_UP;
  htim8.Init.Period = 55000-1;
  htim8.Init.ClockDivision = TIM_CLOCKDIVISION_DIV1;
  htim8.Init.RepetitionCounter = 0;
  htim8.Init.AutoReloadPreload = TIM_AUTORELOAD_PRELOAD_DISABLE;
  if (HAL_TIM_Base_Init(&htim8) != HAL_OK)
  {
    Error_Handler();
  }
  sClockSourceConfig.ClockSource = TIM_CLOCKSOURCE_INTERNAL;
  if (HAL_TIM_ConfigClockSource(&htim8, &sClockSourceConfig) != HAL_OK)
  {
    Error_Handler();
  }
  if (HAL_TIM_IC_Init(&htim8) != HAL_OK)
  {
    Error_Handler();
  }
  sMasterConfig.MasterOutputTrigger = TIM_TRGO_RESET;
  sMasterConfig.MasterSlaveMode = TIM_MASTERSLAVEMODE_DISABLE;
  if (HAL_TIMEx_MasterConfigSynchronization(&htim8, &sMasterConfig) != HAL_OK)
  {
    Error_Handler();
  }
  sConfigIC.ICPolarity = TIM_INPUTCHANNELPOLARITY_BOTHEDGE;
  sConfigIC.ICSelection = TIM_ICSELECTION_DIRECTTI;
  sConfigIC.ICPrescaler = TIM_ICPSC_DIV1;
  sConfigIC.ICFilter = 0;
  if (HAL_TIM_IC_ConfigChannel(&htim8, &sConfigIC, TIM_CHANNEL_1) != HAL_OK)
  {
    Error_Handler();
  }

}

static void MX_USART1_UART_Init(void)
{

  huart1.Instance = USART1;
  huart1.Init.BaudRate = 115200;
  huart1.Init.WordLength = UART_WORDLENGTH_8B;
  huart1.Init.StopBits = UART_STOPBITS_1;
  huart1.Init.Parity = UART_PARITY_NONE;
  huart1.Init.Mode = UART_MODE_TX_RX;
  huart1.Init.HwFlowCtl = UART_HWCONTROL_NONE;
  huart1.Init.OverSampling = UART_OVERSAMPLING_16;
  if (HAL_UART_Init(&huart1) != HAL_OK)
  {
    Error_Handler();
  }

}

static void MX_USART3_UART_Init(void)
{

  huart3.Instance = USART3;
  huart3.Init.BaudRate = 4800;
  huart3.Init.WordLength = UART_WORDLENGTH_8B;
  huart3.Init.StopBits = UART_STOPBITS_1;
  huart3.Init.Parity = UART_PARITY_NONE;
  huart3.Init.Mode = UART_MODE_TX_RX;
  huart3.Init.HwFlowCtl = UART_HWCONTROL_NONE;
  huart3.Init.OverSampling = UART_OVERSAMPLING_16;
  if (HAL_UART_Init(&huart3) != HAL_OK)
  {
    Error_Handler();
  }

}

static void MX_DMA_Init(void)
{

  /* DMA controller clock enable */
  __HAL_RCC_DMA1_CLK_ENABLE();
  __HAL_RCC_DMA2_CLK_ENABLE();

  /* DMA interrupt init */
  /* DMA1_Stream6_IRQn interrupt configuration */
  HAL_NVIC_SetPriority(DMA1_Stream6_IRQn, 0, 0);
  HAL_NVIC_EnableIRQ(DMA1_Stream6_IRQn);
  /* DMA2_Stream0_IRQn interrupt configuration */
  HAL_NVIC_SetPriority(DMA2_Stream0_IRQn, 0, 0);
  HAL_NVIC_EnableIRQ(DMA2_Stream0_IRQn);

}

static void MX_GPIO_Init(void)
{
  GPIO_InitTypeDef GPIO_InitStruct = {0};

  /* GPIO Ports Clock Enable */
  __HAL_RCC_GPIOC_CLK_ENABLE();
  __HAL_RCC_GPIOH_CLK_ENABLE();
  __HAL_RCC_GPIOA_CLK_ENABLE();
  __HAL_RCC_GPIOB_CLK_ENABLE();
  __HAL_RCC_GPIOD_CLK_ENABLE();

  /*Configure GPIO pin Output Level */
  HAL_GPIO_WritePin(GPIOC, NCOL10_Pin|NROW1_Pin|NROW2_Pin|NROW3_Pin
                          |NROW4_Pin|LED7_Pin|NCOL4_Pin|NCOL3_Pin
                          |NCOL2_Pin|NCOL9_Pin, GPIO_PIN_RESET);

  /*Configure GPIO pin Output Level */
  HAL_GPIO_WritePin(GPIOA, LED4_Pin|LED1_Pin|LEDMR_Pin, GPIO_PIN_RESET);

  /*Configure GPIO pin Output Level */
  HAL_GPIO_WritePin(LED8_GPIO_Port, LED8_Pin, GPIO_PIN_SET);

  /*Configure GPIO pin Output Level */
  HAL_GPIO_WritePin(GPIOB, LED9_Pin|LED10_Pin, GPIO_PIN_SET);

  /*Configure GPIO pin Output Level */
  HAL_GPIO_WritePin(GPIOB, NCOL8_Pin|NCOL7_Pin|NCOL6_Pin|NCOL5_Pin
                          |NROW5_Pin|NCOL1_Pin|LEDMB_Pin, GPIO_PIN_RESET);

  /*Configure GPIO pin Output Level */
  HAL_GPIO_WritePin(LEDMG_GPIO_Port, LEDMG_Pin, GPIO_PIN_SET);

  /*Configure GPIO pin Output Level */
  HAL_GPIO_WritePin(DB3_GPIO_Port, DB3_Pin, GPIO_PIN_RESET);

  /*Configure GPIO pin : BTN1_Pin */
  GPIO_InitStruct.Pin = BTN1_Pin;
  GPIO_InitStruct.Mode = GPIO_MODE_INPUT;
  GPIO_InitStruct.Pull = GPIO_PULLUP;
  HAL_GPIO_Init(BTN1_GPIO_Port, &GPIO_InitStruct);

  /*Configure GPIO pins : NCOL10_Pin NROW1_Pin NROW2_Pin NROW3_Pin
                           NROW4_Pin LED7_Pin LED8_Pin NCOL4_Pin
                           NCOL3_Pin NCOL2_Pin NCOL9_Pin */
  GPIO_InitStruct.Pin = NCOL10_Pin|NROW1_Pin|NROW2_Pin|NROW3_Pin
                          |NROW4_Pin|LED7_Pin|LED8_Pin|NCOL4_Pin
                          |NCOL3_Pin|NCOL2_Pin|NCOL9_Pin;
  GPIO_InitStruct.Mode = GPIO_MODE_OUTPUT_PP;
  GPIO_InitStruct.Pull = GPIO_NOPULL;
  GPIO_InitStruct.Speed = GPIO_SPEED_FREQ_LOW;
  HAL_GPIO_Init(GPIOC, &GPIO_InitStruct);

  /*Configure GPIO pins : LED4_Pin LED1_Pin LEDMG_Pin LEDMR_Pin */
  GPIO_InitStruct.Pin = LED4_Pin|LED1_Pin|LEDMG_Pin|LEDMR_Pin;
  GPIO_InitStruct.Mode = GPIO_MODE_OUTPUT_PP;
  GPIO_InitStruct.Pull = GPIO_NOPULL;
  GPIO_InitStruct.Speed = GPIO_SPEED_FREQ_LOW;
  HAL_GPIO_Init(GPIOA, &GPIO_InitStruct);

  /*Configure GPIO pins : LED9_Pin LED10_Pin NCOL8_Pin NCOL7_Pin
                           NCOL6_Pin NCOL5_Pin NROW5_Pin NCOL1_Pin
                           LEDMB_Pin */
  GPIO_InitStruct.Pin = LED9_Pin|LED10_Pin|NCOL8_Pin|NCOL7_Pin
                          |NCOL6_Pin|NCOL5_Pin|NROW5_Pin|NCOL1_Pin
                          |LEDMB_Pin;
  GPIO_InitStruct.Mode = GPIO_MODE_OUTPUT_PP;
  GPIO_InitStruct.Pull = GPIO_NOPULL;
  GPIO_InitStruct.Speed = GPIO_SPEED_FREQ_LOW;
  HAL_GPIO_Init(GPIOB, &GPIO_InitStruct);

  /*Configure GPIO pin : BOOT1_Pin */
  GPIO_InitStruct.Pin = BOOT1_Pin;
  GPIO_InitStruct.Mode = GPIO_MODE_INPUT;
  GPIO_InitStruct.Pull = GPIO_NOPULL;
  HAL_GPIO_Init(BOOT1_GPIO_Port, &GPIO_InitStruct);

  /*Configure GPIO pin : DB3_Pin */
  GPIO_InitStruct.Pin = DB3_Pin;
  GPIO_InitStruct.Mode = GPIO_MODE_OUTPUT_PP;
  GPIO_InitStruct.Pull = GPIO_NOPULL;
  GPIO_InitStruct.Speed = GPIO_SPEED_FREQ_HIGH;
  HAL_GPIO_Init(DB3_GPIO_Port, &GPIO_InitStruct);

  /*Configure GPIO pin : LED3_Pin */
  GPIO_InitStruct.Pin = LED3_Pin;
  GPIO_InitStruct.Mode = GPIO_MODE_INPUT;
  GPIO_InitStruct.Pull = GPIO_PULLDOWN;
  HAL_GPIO_Init(LED3_GPIO_Port, &GPIO_InitStruct);

}

void Error_Handler(void)
{
  /* USER CODE BEGIN Error_Handler_Debug */
  /* User can add his own implementation to report the HAL error return state */
  __disable_irq();
  HAL_GPIO_WritePin(LEDMR_GPIO_Port, LEDMR_Pin,
                    GPIO_PIN_SET);  // turn on error LED
  HAL_GPIO_WritePin(LEDMR_GPIO_Port, LEDMG_Pin,
                    GPIO_PIN_RESET);  // turn on error LED
  HAL_GPIO_WritePin(LEDMR_GPIO_Port, LEDMB_Pin,
                    GPIO_PIN_RESET);  // turn on error LED
  while (1) {
  }
  /* USER CODE END Error_Handler_Debug */
}

#ifdef  USE_FULL_ASSERT
/**
  * @brief  Reports the name of the source file and the source line number
  *         where the assert_param error has occurred.
  * @param  file: pointer to the source file name
  * @param  line: assert_param error line source number
  * @retval None
  */
void assert_failed(uint8_t *file, uint32_t line)
{
  /* USER CODE BEGIN 6 */
  /* User can add his own implementation to report the file name and line
     number, ex: printf("Wrong parameters value: file %s on line %d\r\n", file,
     line) */

    __disable_irq();

    HAL_GPIO_WritePin(LEDMR_GPIO_Port, LEDMR_Pin,
                    GPIO_PIN_SET);  // turn on error LED

    char buffer[100];
    snprintf(buffer, sizeof(buffer), "Assert Fail %lu of %s\r\n", line, file);
    HAL_UART_Transmit(&huart1, (uint8_t *)buffer, strlen(buffer), 1000);

    HAL_Delay(1000);

    while (1) {
  }
  /* USER CODE END 6 */
}
#endif /* USE_FULL_ASSERT */
